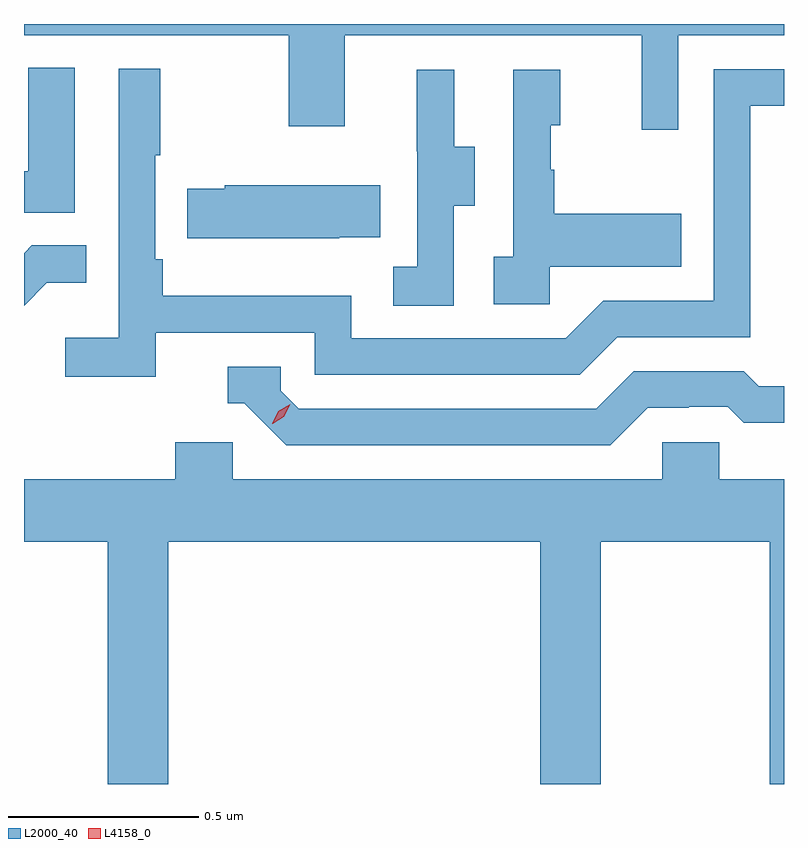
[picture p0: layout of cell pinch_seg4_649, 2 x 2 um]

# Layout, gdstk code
import gdstk
lib = gdstk.Library(unit=1e-6, precision=1e-09)
def P(c, l, *ps):  # polygons
    for p in ps: c.add(gdstk.Polygon(p, *l))
L2000_40 = (2000, 40)
L4158_0 = (4158, 0)

pinch_seg4_649 = lib.new_cell('pinch_seg4_649')
P(pinch_seg4_649, L2000_40, [(1022.715,758.192),(1023.412,758.192),(1023.412,757.953),(1023.559,757.953),(1023.559,758.192),(1024.34,758.192),(1024.34,757.944),(1024.437,757.944),(1024.437,758.192),(1024.715,758.192),(1024.715,758.222),(1022.715,758.222)],
  [(1022.848,758.107),(1022.726,758.107),(1022.726,757.834),(1022.715,757.834),(1022.715,757.725),(1022.848,757.725)],
  [(1023.062,757.41),(1023.48,757.41),(1023.48,757.299),(1024.177,757.299),(1024.276,757.398),(1024.626,757.398),(1024.626,758.007),(1024.715,758.007),(1024.715,758.103),(1024.53,758.103),(1024.53,757.494),(1024.239,757.494),(1024.14,757.395),(1023.576,757.395),(1023.576,757.507),(1023.08,757.507),(1023.08,757.603),(1023.06,757.603),(1023.06,757.876),(1023.073,757.876),(1023.073,758.104),(1022.964,758.104),(1022.964,757.396),(1022.823,757.396),(1022.823,757.294),(1023.062,757.294)],
  [(1024.098,757.583),(1024.445,757.583),(1024.445,757.723),(1024.111,757.723),(1024.111,757.838),(1024.101,757.838),(1024.101,757.956),(1024.126,757.956),(1024.126,758.101),(1024.002,758.101),(1024.002,757.61),(1023.951,757.61),(1023.951,757.485),(1024.098,757.485)],
  [(1023.846,757.744),(1023.901,757.744),(1023.901,757.899),(1023.847,757.899),(1023.847,758.101),(1023.749,758.101),(1023.749,757.887),(1023.75,757.887),(1023.75,757.583),(1023.687,757.583),(1023.687,757.48),(1023.846,757.48)],
  [(1023.545,757.661),(1023.653,757.661),(1023.653,757.798),(1023.243,757.798),(1023.243,757.788),(1023.145,757.788),(1023.145,757.658),(1023.545,757.658)],
  [(1022.775,757.541),(1022.879,757.541),(1022.879,757.64),(1022.736,757.64),(1022.715,757.619),(1022.715,757.481)],
  [(1024.357,757.212),(1024.464,757.212),(1024.464,757.215),(1024.567,757.215),(1024.609,757.173),(1024.715,757.173),(1024.715,757.269),(1024.648,757.269),(1024.609,757.308),(1024.32,757.308),(1024.221,757.209),(1023.438,757.209),(1023.39,757.257),(1023.39,757.32),(1023.251,757.32),(1023.251,757.224),(1023.294,757.224),(1023.405,757.113),(1024.258,757.113)],
  [(1023.095,756.86),(1024.073,756.86),(1024.073,756.222),(1024.233,756.222),(1024.233,756.86),(1024.678,756.86),(1024.678,756.222),(1024.715,756.222),(1024.715,757.024),(1024.545,757.024),(1024.545,757.122),(1024.395,757.122),(1024.395,757.024),(1023.264,757.024),(1023.264,757.122),(1023.113,757.122),(1023.113,757.024),(1022.715,757.024),(1022.715,756.86),(1022.935,756.86),(1022.935,756.222),(1023.095,756.222)])
P(pinch_seg4_649, L4158_0, [(1023.368,757.17),(1023.368,757.17),(1023.384,757.203),(1023.415,757.222),(1023.415,757.222),(1023.415,757.222),(1023.399,757.189),(1023.369,757.17)])

lib.write_gds('pinch_seg4_649.gds')
